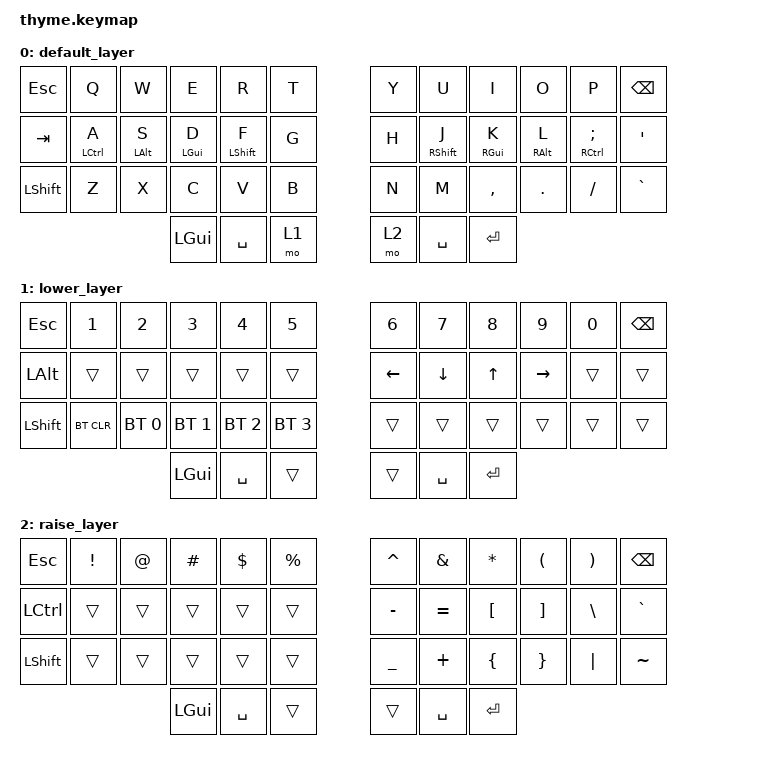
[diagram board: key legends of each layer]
/*
 * Copyright (c) 2020 The ZMK Contributors
 *
 * SPDX-License-Identifier: MIT
 */

#include <behaviors.dtsi>
#include <dt-bindings/zmk/keys.h>
#include <dt-bindings/zmk/bt.h>

/ {
        behaviors {
                hm: homerow_mods {
                        compatible = "zmk,behavior-hold-tap";
                        #binding-cells = <2>;
                        tapping-term-ms = <280>;
                        quick-tap-ms = <175>;
                        flavor = "tap-preferred";
                        bindings = <&kp>, <&kp>;
                };
        };

        keymap {
                compatible = "zmk,keymap";

                default_layer {
// -----------------------------------------------------------------------------------------
// | ESC  |  Q  |  W  |  E  |  R  |  T  |   |  Y  |  U   |  I  |  O  |  P  | BSPC |
// | TAB  |  A  |  S  |  D  |  F  |  G  |   |  H  |  J   |  K  |  L  |  ;  |  '   |
//        | CTRL| ALT | GUI |SHIFT|     |   |     |SHIFT | GUI | ALT | CTRL|
// | SHFT |  Z  |  X  |  C  |  V  |  B  |   |  N  |  M   |  ,  |  .  |  /  | GRAVE|
//                    | GUI | SPC | LWR |   | RSE | SPC  | ENT |
                        bindings = <
   &kp ESC   &kp Q       &kp W       &kp E       &kp R        &kp T      &kp Y &kp U        &kp I       &kp O       &kp P          &kp BSPC
   &kp TAB   &hm LCTRL A &hm LALT S  &hm LGUI D  &hm LSHFT F  &kp G      &kp H &hm RSHFT J  &hm RGUI K  &hm RALT L  &hm RCTRL SEMI &kp SQT
   &kp LSHFT &kp Z       &kp X       &kp C       &kp V        &kp B      &kp N &kp M        &kp COMMA   &kp DOT     &kp FSLH       &kp GRAVE
                                     &kp LGUI    &kp SPACE    &mo 1      &mo 2 &kp SPACE   &kp RET
                        >;
                };
                lower_layer {
// -----------------------------------------------------------------------------------------
// | ESC  |  1  |  2  |  3  |  4  |  5  |   |  6  |  7  |  8  |  9  |  0  | BSPC |
// | ALT  |     |     |     |     |     |   | LFT | DWN |  UP | RGT |     |      |
// | SHFT | BTCLR| BT1| BT2| BT3| BT4 |   |     |     |     |     |     |      |
//                    | GUI | SPC |     |   |     | SPC | ENT |
                        bindings = <
   &kp ESC    &kp N1       &kp N2       &kp N3       &kp N4       &kp N5         &kp N6   &kp N7   &kp N8 &kp N9    &kp N0 &kp BSPC
   &kp LALT   &trans       &trans       &trans       &trans       &trans         &kp LEFT &kp DOWN &kp UP &kp RIGHT &trans &trans
   &kp LSHFT  &bt BT_CLR   &bt BT_SEL 0 &bt BT_SEL 1 &bt BT_SEL 2 &bt BT_SEL 3   &trans   &trans   &trans &trans    &trans &trans
                                    &kp LGUI     &kp SPACE    &trans         &trans &kp SPACE &kp RET
                        >;
                };

                raise_layer {
// -----------------------------------------------------------------------------------------
// | ESC  |  !  |  @  |  #  |  $  |  %  |   |  ^  |  &  |  *  |  (  |  )  | BSPC |
// | CTRL |     |     |     |     |     |   |  -  |  =  |  [  |  ]  |  \  |  `   |
// | SHFT |     |     |     |     |     |   |  _  |  +  |  {  |  }  | "|" |  ~   |
//                    | GUI | SPC |     |   |     | SPC | ENT |
                        bindings = <
   &kp  ESC  &kp EXCL &kp AT &kp HASH &kp DLLR &kp PRCNT   &kp CARET &kp AMPS  &kp ASTRK &kp LPAR &kp RPAR &kp BSPC
   &kp LCTRL &trans   &trans &trans   &trans   &trans      &kp MINUS &kp EQUAL &kp LBKT  &kp RBKT &kp BSLH &kp GRAVE
   &kp LSHFT &trans   &trans &trans   &trans   &trans      &kp UNDER &kp PLUS  &kp LBRC  &kp RBRC &kp PIPE &kp TILDE
                             &kp LGUI &kp SPACE &trans      &trans    &kp SPACE &kp RET
                        >;
                };
        };
};
